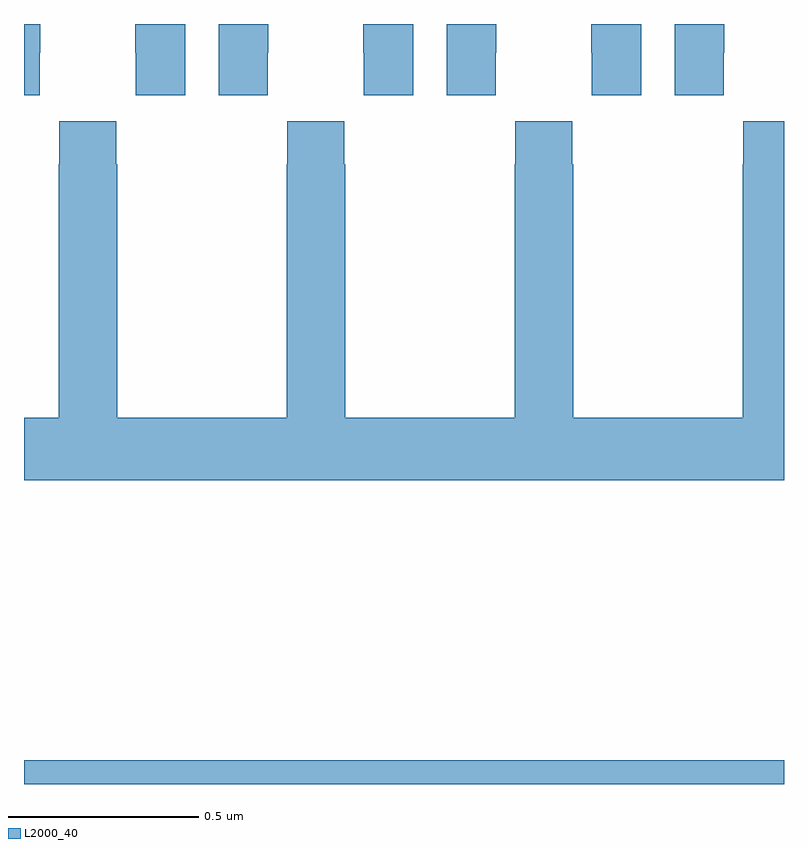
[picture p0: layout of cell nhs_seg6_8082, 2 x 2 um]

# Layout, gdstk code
import gdstk
lib = gdstk.Library(unit=1e-6, precision=1e-09)
def R(c, l, rs):  # rectangles x0, y0, x1, y1
    for r in rs: c.add(gdstk.rectangle(r[:2], r[2:], *l))
def P(c, l, *ps):  # polygons
    for p in ps: c.add(gdstk.Polygon(p, *l))
L2000_40 = (2000, 40)

nhs_seg6_8082 = lib.new_cell('nhs_seg6_8082')
R(nhs_seg6_8082, L2000_40, [(216,982.5,218,982.562)])
P(nhs_seg6_8082, L2000_40, [(216.042,984.424),(216.043,984.424),(216.043,984.5),(216,984.5),(216,984.312),(216.042,984.312)],
  [(216.424,984.5),(216.293,984.5),(216.293,984.424),(216.294,984.424),(216.294,984.312),(216.424,984.312)],
  [(216.642,984.424),(216.643,984.424),(216.643,984.5),(216.512,984.5),(216.512,984.312),(216.642,984.312)],
  [(217.024,984.5),(216.893,984.5),(216.893,984.424),(216.894,984.424),(216.894,984.312),(217.024,984.312)],
  [(217.242,984.424),(217.243,984.424),(217.243,984.5),(217.112,984.5),(217.112,984.312),(217.242,984.312)],
  [(217.624,984.5),(217.493,984.5),(217.493,984.424),(217.494,984.424),(217.494,984.312),(217.624,984.312)],
  [(217.842,984.424),(217.843,984.424),(217.843,984.5),(217.712,984.5),(217.712,984.312),(217.842,984.312)],
  [(218,984.244),(217.893,984.244),(217.893,984.131),(217.891,984.131),(217.891,983.464),(217.446,983.464),(217.446,984.131),(217.443,984.131),(217.443,984.244),(217.293,984.244),(217.293,984.131),(217.291,984.131),(217.291,983.464),(216.846,983.464),(216.846,984.131),(216.843,984.131),(216.843,984.244),(216.693,984.244),(216.693,984.131),(216.691,984.131),(216.691,983.464),(216.246,983.464),(216.246,984.131),(216.243,984.131),(216.243,984.244),(216.093,984.244),(216.093,984.131),(216.091,984.131),(216.091,983.464),(216,983.464),(216,983.3),(218,983.3)])

lib.write_gds('nhs_seg6_8082.gds')
